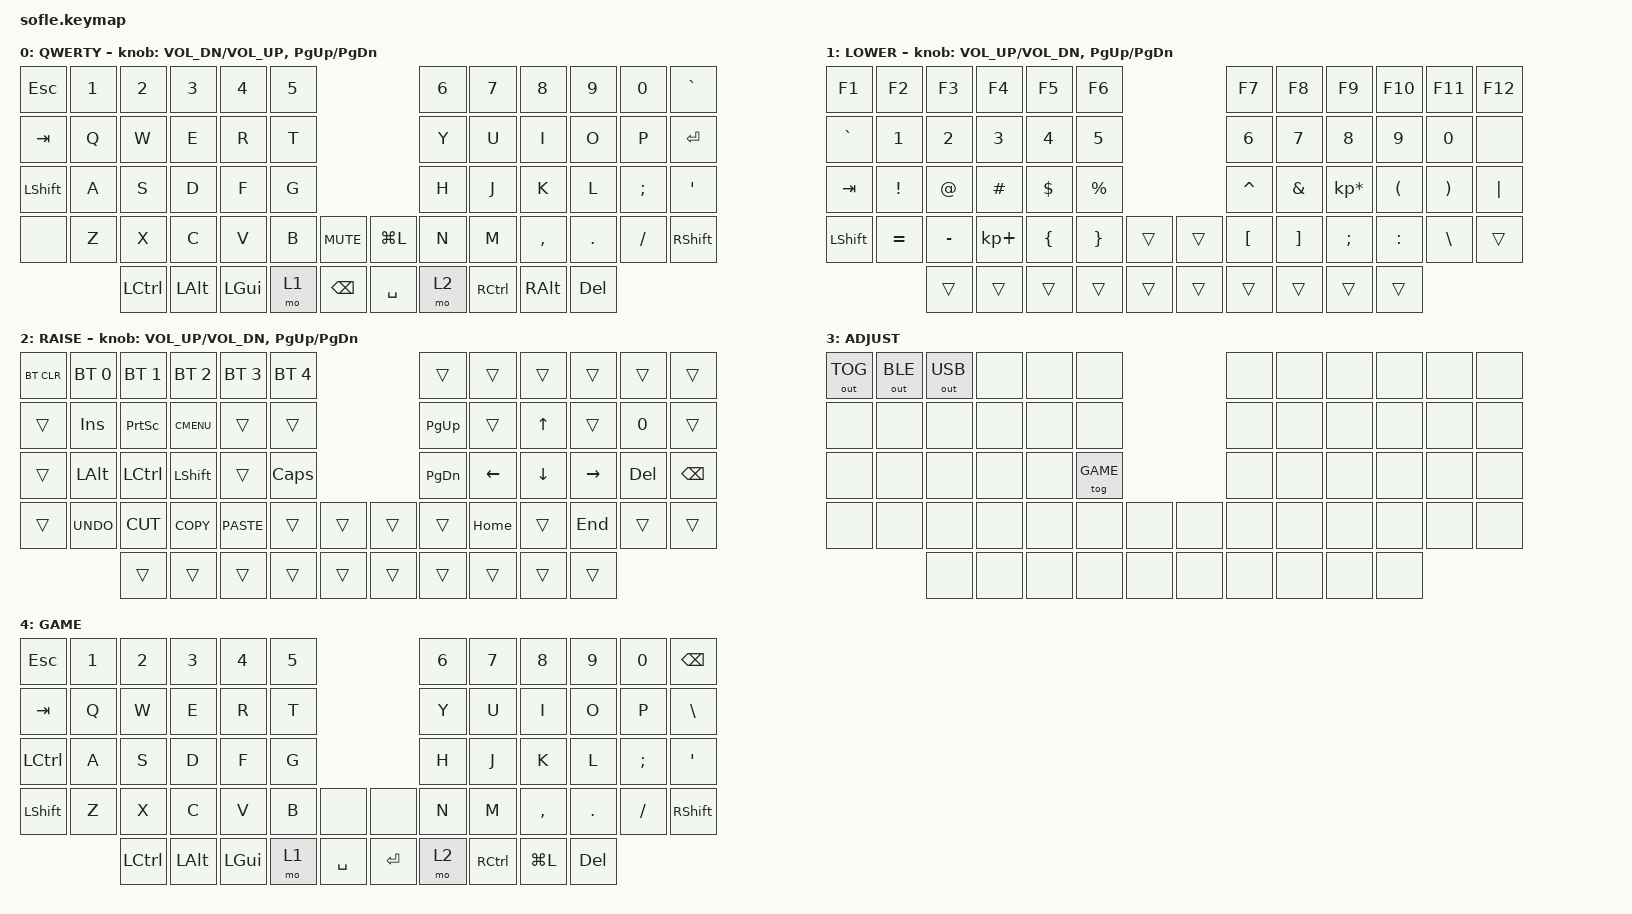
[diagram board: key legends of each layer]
/*
 * Copyright (c) 2020 The ZMK Contributors
 *
 * SPDX-License-Identifier: MIT
 */

#include <behaviors.dtsi>
#include <dt-bindings/zmk/keys.h>
#include <dt-bindings/zmk/bt.h>
#include <dt-bindings/zmk/outputs.h>

#define BASE 0
#define LOWER 1
#define RAISE 2
#define ADJUST 3
#define GAME 4

/ {

   // Activate ADJUST layer by pressing raise and lower
    conditional_layers {
        compatible = "zmk,conditional-layers";
        adjust_layer {
            if-layers = <LOWER RAISE>;
            then-layer = <ADJUST>;
        };
    };
    
    keymap {
        compatible = "zmk,keymap";

        default_layer {
            label = "QWERTY";
// ------------------------------------------------------------------------------------------------------------
// |  ESC  |  1  |  2  |  3   |  4   |  5   |                   |  6   |   7   |   8   |  9   |   0   |   `   |
// |  TAB  |  Q  |  W  |  E   |  R   |  T   |                   |  Y   |   U   |   I   |  O   |   P   |  Entr |
// | LSHIFT|  A  |  S  |  D   |  F   |  G   |                   |  H   |   J   |   K   |  L   |   ;   |   '   |
// |       |  Z  |  X  |  C   |  V   |  B   |  MUTE  |  | PLAY  |  N   |   M   |   ,   |  .   |   /   | RShift|
//               |CTRL | ALT  | LGUI | LOWER|  BSPC |  | SPACE | RAISE| RCTR   | RALT  | RGUI |
            bindings = <
&kp ESC   &kp N1  &kp N2     &kp N3    &kp N4     &kp N5                            &kp N6  &kp N7     &kp N8     &kp N9   &kp N0    &kp GRAVE
&kp TAB   &kp Q   &kp W      &kp E     &kp R      &kp T                             &kp Y   &kp U      &kp I      &kp O    &kp P     &kp RET
&kp LSHFT &kp A   &kp S      &kp D     &kp F      &kp G                             &kp H   &kp J      &kp K      &kp L    &kp SEMI  &kp SQT
&none  &kp Z   &kp X      &kp C     &kp V      &kp B    &kp C_MUTE  &kp LG(L)    &kp N   &kp M      &kp COMMA  &kp DOT  &kp FSLH  &kp RSHFT
                  &kp LCTRL  &kp LALT  &kp LGUI   &mo 1    &kp BSPC    &kp SPACE    &mo 2   &kp RCTRL  &kp RALT   &kp DEL
            >;

            sensor-bindings = <&inc_dec_kp C_VOL_DN C_VOL_UP &inc_dec_kp PG_UP PG_DN>;
        };

        lower_layer {
            label = "LOWER";
// TODO: Some binds are waiting for shifted keycode support.
// ------------------------------------------------------------------------------------------------------------
// |   F1  |  F2  |  F3  |  F4  |  F5  |  F6  |                    |  F7  |  F8  |  F9  |  F10  | F11  | F12  |
// |   `   |   1  |   2  |   3  |   4  |   5  |                    |   6  |   7  |   8  |   9   |   0  |      |
// |  Tab  |   !  |   @  |   #  |   $  |   %  |                    |   ^  |   &  |   *  |   (   |   )  |   |  |
// | LSHIFT|  =   |  -   |  +   |   {  |   }  | MUTE |      | PLAY |   [  |   ]  |   ;  |   :   |   \  | Shift|
//                |      |      |      |      |      |      |      |      |      |      |       |
            bindings = <
&kp F1    &kp F2    &kp F3    &kp F4      &kp F5    &kp F6                        &kp F7    &kp F8     &kp F9          &kp F10    &kp F11   &kp F12
&kp GRAVE &kp N1    &kp N2    &kp N3      &kp N4    &kp N5                        &kp N6    &kp N7     &kp N8          &kp N9    &kp N0    &none
&kp TAB   &kp EXCL  &kp AT    &kp HASH    &kp DLLR  &kp PRCNT                     &kp CARET &kp AMPS   &kp KP_MULTIPLY &kp LPAR  &kp RPAR  &kp PIPE
&kp LSHFT &kp EQUAL &kp MINUS &kp KP_PLUS &kp LBRC  &kp RBRC &trans     &trans    &kp LBKT  &kp RBKT   &kp SEMI        &kp COLON &kp BSLH  &trans
                    &trans     &trans     &trans    &trans   &trans     &trans    &trans    &trans     &trans          &trans
            >;

            sensor-bindings = <&inc_dec_kp C_VOL_UP C_VOL_DN &inc_dec_kp PG_UP PG_DN>;
        };

        raise_layer {
            label = "RAISE";
// ------------------------------------------------------------------------------------------------------------
// |BTCLR| BT1  | BT2  |  BT3  |  BT4  |  BT5 |                    |      |      |       |      |       |       |
// |     | INS  | PSCR | GUI   |       |      |                    | PGUP |      |   ^   |      |       |       |
// |     | ALT  | CTRL | SHIFT |       | CAPS |                    | PGDN |   <- |   v   |  ->  |  DEL  | BKSPC |
// |     | UNDO | CUT  | COPY  | PASTE |     |  MUTE  |     | PLAY |      | HOME |       |  END |       | Shift |
//              | LGUI |  LAlt | LCTR  |LOWER | Bspc  |     | SPACE | RAISE| RCTR | RAlt | RGUI |
            bindings = <
&bt BT_CLR &bt BT_SEL 0 &bt BT_SEL 1 &bt BT_SEL 2 &bt BT_SEL 3 &bt BT_SEL 4             &trans    &trans    &trans   &trans    &trans  &trans
&trans     &kp INS      &kp PSCRN    &kp K_CMENU  &trans       &trans                   &kp PG_UP &trans    &kp UP   &trans    &kp N0  &trans
&trans     &kp LALT     &kp LCTRL    &kp LSHFT    &trans       &kp CLCK                 &kp PG_DN &kp LEFT  &kp DOWN &kp RIGHT &kp DEL &kp BSPC
&trans     &kp K_UNDO   &kp K_CUT    &kp K_COPY   &kp K_PASTE  &trans  &trans   &trans  &trans    &kp HOME   &trans   &kp END    &trans  &trans
                        &trans       &trans       &trans       &trans  &trans   &trans  &trans    &trans    &trans   &trans
            >;

            sensor-bindings = <&inc_dec_kp C_VOL_UP C_VOL_DN &inc_dec_kp PG_UP PG_DN>;
        };
        
        Adjust_layer {
            label = "ADJUST";
// ------------------------------------------------------------------------------------------------------------
// |USB/BLE|TOGBLE|TOGUSB|      |       |      |                |      |      |       |      |       |       |
// |       |      |      |      |       |      |                |      |      |       |      |       |       |
// |       |      |      |      |       | GAME |                |      |      |       |      |       |       |
// |       |      |      |      |       |      |      |  |      |      |      |       |      |       |       |
//                |      |      |       |      |      |  |      |      |      |       |      |
        bindings = <
&out OUT_TOG  &out OUT_BLE  &out OUT_USB  &none  &none  &none                       &none  &none  &none  &none  &none  &none
&none         &none         &none         &none  &none  &none                       &none  &none  &none  &none  &none  &none
&none         &none         &none         &none  &none  &tog GAME                   &none  &none  &none  &none  &none  &none
&none         &none         &none         &none  &none  &none       &none  &none    &none  &none  &none  &none  &none  &none
                            &none         &none  &none  &none       &none  &none    &none  &none  &none  &none
            >;
        };
        
        Game_layer {
            label = "GAME";
// ------------------------------------------------------------------------------------------------------------
// |  ESC  |  1  |  2  |  3   |  4   |  5   |                   |  6   |   7   |   8   |  9   |   0   |  BSPC |
// |  TAB  |  Q  |  W  |  E   |  R   |  T   |                   |  Y   |   U   |   I   |  O   |   P   |   \   |
// | CTRL  |  A  |  S  |  D   |  F   |  G   |                   |  H   |   J   |   K   |  L   |   ;   |   '   |
// | SHIFT |  Z  |  X  |  C   |  V   |  B   |        |  |       |  N   |   M   |   ,   |  .   |   /   | SHIFT |
//               |CTRL | ALT  | LGUI | LOWER|  SPACE |  | ENTER | RAISE| CTRL  | LOCK  | DEL  |
            bindings = <
&kp ESC    &kp N1  &kp N2     &kp N3    &kp N4    &kp N5                          &kp N6  &kp N7     &kp N8     &kp N9   &kp N0    &kp BSPC
&kp TAB    &kp Q   &kp W      &kp E     &kp R     &kp T                           &kp Y   &kp U      &kp I      &kp O    &kp P     &kp BSLH
&kp LCTRL   &kp A   &kp S      &kp D     &kp F     &kp G                           &kp H   &kp J      &kp K      &kp L    &kp SEMI  &kp SQT
&kp LSHFT  &kp Z   &kp X      &kp C     &kp V     &kp B   &none       &none       &kp N   &kp M      &kp COMMA  &kp DOT  &kp FSLH  &kp RSHFT
                   &kp LCTRL  &kp LALT  &kp LGUI  &mo 1   &kp SPACE     &kp RET   &mo 2   &kp RCTRL  &kp LG(L)  &kp DEL
            >;
        };
    };
};
